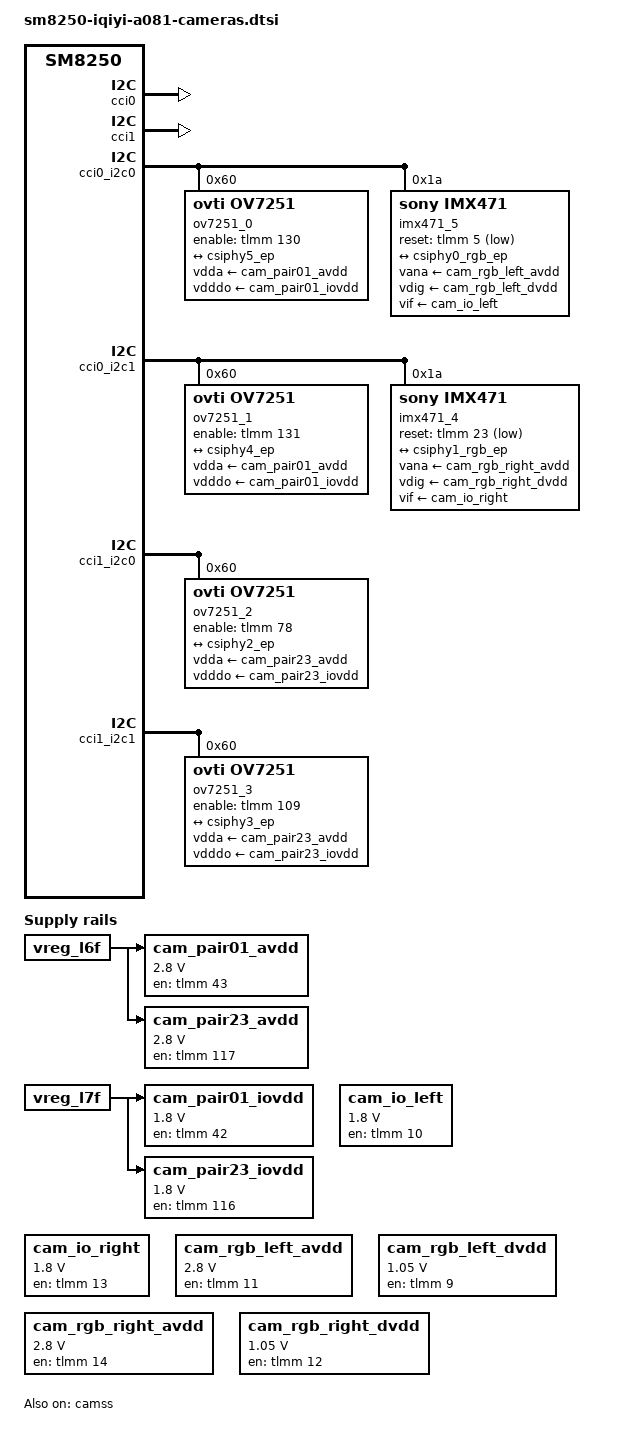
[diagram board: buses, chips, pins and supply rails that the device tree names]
// SPDX-License-Identifier: BSD-3-Clause
/* A081 stock runtime FDT + six live-verified QTI sensor configurations.
 * Slot 0/1: CCI0 bus 0/1, PHY5/4; slot 2/3: CCI1 bus 0/1, PHY2/3.
 * Sensor endpoints number the source lanes; Qualcomm PHY numbers data from
 * zero and the dedicated clock lane as seven.
 */
#include <dt-bindings/media/video-interfaces.h>

/ {
	cam_pair01_avdd: regulator-cam-pair01-avdd {
		compatible = "regulator-fixed";
		regulator-name = "cam-pair01-avdd";
		regulator-min-microvolt = <2800000>;
		regulator-max-microvolt = <2800000>;
		vin-supply = <&vreg_l6f>;
		gpio = <&tlmm 43 GPIO_ACTIVE_HIGH>;
		enable-active-high;
		startup-delay-us = <1000>;
	};

	cam_pair01_iovdd: regulator-cam-pair01-iovdd {
		compatible = "regulator-fixed";
		regulator-name = "cam-pair01-iovdd";
		regulator-min-microvolt = <1800000>;
		regulator-max-microvolt = <1800000>;
		vin-supply = <&vreg_l7f>;
		gpio = <&tlmm 42 GPIO_ACTIVE_HIGH>;
		enable-active-high;
		startup-delay-us = <1000>;
	};

	cam_pair23_avdd: regulator-cam-pair23-avdd {
		compatible = "regulator-fixed";
		regulator-name = "cam-pair23-avdd";
		regulator-min-microvolt = <2800000>;
		regulator-max-microvolt = <2800000>;
		vin-supply = <&vreg_l6f>;
		gpio = <&tlmm 117 GPIO_ACTIVE_HIGH>;
		enable-active-high;
		startup-delay-us = <1000>;
	};

	cam_pair23_iovdd: regulator-cam-pair23-iovdd {
		compatible = "regulator-fixed";
		regulator-name = "cam-pair23-iovdd";
		regulator-min-microvolt = <1800000>;
		regulator-max-microvolt = <1800000>;
		vin-supply = <&vreg_l7f>;
		gpio = <&tlmm 116 GPIO_ACTIVE_HIGH>;
		enable-active-high;
		startup-delay-us = <1000>;
	};

	cam_io_left: regulator-cam-io-left {
		compatible = "regulator-fixed";
		regulator-name = "cam-io-left";
		regulator-min-microvolt = <1800000>;
		regulator-max-microvolt = <1800000>;
		gpio = <&tlmm 10 GPIO_ACTIVE_HIGH>;
		enable-active-high;
		/* Shared module IO: stock OV power-up votes cam_vaf. */
		regulator-boot-on;
		regulator-always-on;
	};

	cam_io_right: regulator-cam-io-right {
		compatible = "regulator-fixed";
		regulator-name = "cam-io-right";
		regulator-min-microvolt = <1800000>;
		regulator-max-microvolt = <1800000>;
		gpio = <&tlmm 13 GPIO_ACTIVE_HIGH>;
		enable-active-high;
		/* Shared module IO: stock OV power-up votes cam_vaf. */
		regulator-boot-on;
		regulator-always-on;
	};

};

&apps_rsc {
	regulators-2 {
		vreg_l6f: ldo6 {
			regulator-name = "vreg_l6f";
			regulator-min-microvolt = <2800000>;
			regulator-max-microvolt = <2800000>;
			regulator-initial-mode = <RPMH_REGULATOR_MODE_HPM>;
		};

		vreg_l7f: ldo7 {
			regulator-name = "vreg_l7f";
			regulator-min-microvolt = <1800000>;
			regulator-max-microvolt = <1800000>;
			regulator-initial-mode = <RPMH_REGULATOR_MODE_HPM>;
			/* Shared camera interface rail, also voted by stock IMX471.
			 * Its CCI bus times out when OV7251 drops the last vote.
			 * Keep it on until the board's shared IO power is modeled.
			 */
			regulator-always-on;
		};
	};
};

&camss {
	vdda-phy-supply = <&vreg_l5a>;
	vdda-pll-supply = <&vreg_l9a>;
	pinctrl-names = "default";
	pinctrl-0 = <&controller_phase_default>;
	/* Stock camera2 CAM_C1/CAM_C2; sampled by Nordic at the next FSIN. */
	qcom,controller-phase-gpios = <&tlmm 92 GPIO_ACTIVE_HIGH>,
				      <&tlmm 93 GPIO_ACTIVE_HIGH>;
	qcom,controller-phase-csid = <2>;
	status = "okay";

	ports {
		port@5 {
			csiphy5_ep: endpoint {
				clock-lanes = <7>;
				data-lanes = <0>;
				bus-type = <MEDIA_BUS_TYPE_CSI2_DPHY>;
				remote-endpoint = <&ov7251_0_ep>;
			};
		};
		port@4 {
			csiphy4_ep: endpoint {
				clock-lanes = <7>;
				data-lanes = <0>;
				bus-type = <MEDIA_BUS_TYPE_CSI2_DPHY>;
				remote-endpoint = <&ov7251_1_ep>;
			};
		};
		port@2 {
			csiphy2_ep: endpoint {
				clock-lanes = <7>;
				data-lanes = <0>;
				bus-type = <MEDIA_BUS_TYPE_CSI2_DPHY>;
				remote-endpoint = <&ov7251_2_ep>;
			};
		};
		port@3 {
			csiphy3_ep: endpoint {
				clock-lanes = <7>;
				data-lanes = <0>;
				bus-type = <MEDIA_BUS_TYPE_CSI2_DPHY>;
				remote-endpoint = <&ov7251_3_ep>;
			};
		};
	};
};

&cci0 { status = "okay"; };
&cci1 { status = "okay"; };

&cci0_i2c0 {
	ov7251_0: camera@60 {
		compatible = "ovti,ov7251";
		reg = <0x60>;
		clocks = <&camcc CAM_CC_MCLK5_CLK>;
		clock-names = "xclk";
		assigned-clocks = <&camcc CAM_CC_MCLK5_CLK>;
		assigned-clock-rates = <24000000>;
		vdda-supply = <&cam_pair01_avdd>;
		vdddo-supply = <&cam_pair01_iovdd>;
		enable-gpios = <&tlmm 130 GPIO_ACTIVE_HIGH>;
		pinctrl-names = "default";
		pinctrl-0 = <&cam0_a081_default>;

		port {
			ov7251_0_ep: endpoint {
				clock-lanes = <0>;
				data-lanes = <1>;
				link-frequencies = /bits/ 64 <240000000>;
				remote-endpoint = <&csiphy5_ep>;
			};
		};
	};
};

&cci0_i2c1 {
	ov7251_1: camera@60 {
		compatible = "ovti,ov7251";
		reg = <0x60>;
		clocks = <&camcc CAM_CC_MCLK4_CLK>;
		clock-names = "xclk";
		assigned-clocks = <&camcc CAM_CC_MCLK4_CLK>;
		assigned-clock-rates = <24000000>;
		vdda-supply = <&cam_pair01_avdd>;
		vdddo-supply = <&cam_pair01_iovdd>;
		enable-gpios = <&tlmm 131 GPIO_ACTIVE_HIGH>;
		pinctrl-names = "default";
		pinctrl-0 = <&cam1_a081_default>;

		port {
			ov7251_1_ep: endpoint {
				clock-lanes = <0>;
				data-lanes = <1>;
				link-frequencies = /bits/ 64 <240000000>;
				remote-endpoint = <&csiphy4_ep>;
			};
		};
	};
};

&cci1_i2c0 {
	ov7251_2: camera@60 {
		compatible = "ovti,ov7251";
		reg = <0x60>;
		clocks = <&camcc CAM_CC_MCLK2_CLK>;
		clock-names = "xclk";
		assigned-clocks = <&camcc CAM_CC_MCLK2_CLK>;
		assigned-clock-rates = <24000000>;
		vdda-supply = <&cam_pair23_avdd>;
		vdddo-supply = <&cam_pair23_iovdd>;
		enable-gpios = <&tlmm 78 GPIO_ACTIVE_HIGH>;
		pinctrl-names = "default";
		pinctrl-0 = <&cam2_a081_default>;

		port {
			ov7251_2_ep: endpoint {
				clock-lanes = <0>;
				data-lanes = <1>;
				link-frequencies = /bits/ 64 <240000000>;
				remote-endpoint = <&csiphy2_ep>;
			};
		};
	};
};

&cci1_i2c1 {
	ov7251_3: camera@60 {
		compatible = "ovti,ov7251";
		reg = <0x60>;
		clocks = <&camcc CAM_CC_MCLK3_CLK>;
		clock-names = "xclk";
		assigned-clocks = <&camcc CAM_CC_MCLK3_CLK>;
		assigned-clock-rates = <24000000>;
		vdda-supply = <&cam_pair23_avdd>;
		vdddo-supply = <&cam_pair23_iovdd>;
		enable-gpios = <&tlmm 109 GPIO_ACTIVE_HIGH>;
		pinctrl-names = "default";
		pinctrl-0 = <&cam3_a081_default>;

		port {
			ov7251_3_ep: endpoint {
				clock-lanes = <0>;
				data-lanes = <1>;
				link-frequencies = /bits/ 64 <240000000>;
				remote-endpoint = <&csiphy3_ep>;
			};
		};
	};
};

&tlmm {
	controller_phase_default: controller-phase-default-state {
		pins = "gpio92", "gpio93";
		function = "gpio";
		drive-strength = <2>;
		bias-disable;
		output-low;
	};

	cam0_a081_default: cam0-a081-default-state {
		mclk-pins {
			pins = "gpio99";
			function = "cam_mclk";
			drive-strength = <2>;
			bias-disable;
		};
		reset-pins {
			pins = "gpio130";
			function = "gpio";
			drive-strength = <2>;
			bias-disable;
		};
	};
	cam1_a081_default: cam1-a081-default-state {
		mclk-pins {
			pins = "gpio98";
			function = "cam_mclk";
			drive-strength = <2>;
			bias-disable;
		};
		reset-pins {
			pins = "gpio131";
			function = "gpio";
			drive-strength = <2>;
			bias-disable;
		};
	};
	cam2_a081_default: cam2-a081-default-state {
		mclk-pins {
			pins = "gpio96";
			function = "cam_mclk";
			drive-strength = <2>;
			bias-disable;
		};
		reset-pins {
			pins = "gpio78";
			function = "gpio";
			drive-strength = <2>;
			bias-disable;
		};
	};
	cam3_a081_default: cam3-a081-default-state {
		mclk-pins {
			pins = "gpio97";
			function = "cam_mclk";
			drive-strength = <2>;
			bias-disable;
		};
		reset-pins {
			pins = "gpio109";
			function = "gpio";
			drive-strength = <2>;
			bias-disable;
		};
	};
};

/ {
	cam_rgb_left_avdd: regulator-cam-rgb-left-avdd {
		compatible = "regulator-fixed";
		regulator-name = "cam-rgb-left-avdd";
		regulator-min-microvolt = <2800000>;
		regulator-max-microvolt = <2800000>;
		gpio = <&tlmm 11 GPIO_ACTIVE_HIGH>;
		enable-active-high;
		startup-delay-us = <1000>;
	};
	cam_rgb_left_dvdd: regulator-cam-rgb-left-dvdd {
		compatible = "regulator-fixed";
		regulator-name = "cam-rgb-left-dvdd";
		regulator-min-microvolt = <1050000>;
		regulator-max-microvolt = <1050000>;
		gpio = <&tlmm 9 GPIO_ACTIVE_HIGH>;
		enable-active-high;
		startup-delay-us = <1000>;
	};
	cam_rgb_right_avdd: regulator-cam-rgb-right-avdd {
		compatible = "regulator-fixed";
		regulator-name = "cam-rgb-right-avdd";
		regulator-min-microvolt = <2800000>;
		regulator-max-microvolt = <2800000>;
		gpio = <&tlmm 14 GPIO_ACTIVE_HIGH>;
		enable-active-high;
		startup-delay-us = <1000>;
	};
	cam_rgb_right_dvdd: regulator-cam-rgb-right-dvdd {
		compatible = "regulator-fixed";
		regulator-name = "cam-rgb-right-dvdd";
		regulator-min-microvolt = <1050000>;
		regulator-max-microvolt = <1050000>;
		gpio = <&tlmm 12 GPIO_ACTIVE_HIGH>;
		enable-active-high;
		startup-delay-us = <1000>;
	};
};

&cci0_i2c1 {
	imx471_4: camera@1a {
		compatible = "sony,imx471";
		reg = <0x1a>;
		clocks = <&camcc CAM_CC_MCLK1_CLK>;
		assigned-clocks = <&camcc CAM_CC_MCLK1_CLK>;
		/* Use the upstream driver's 19.2 MHz PLL/mode table. */
		assigned-clock-rates = <19200000>;
		vana-supply = <&cam_rgb_right_avdd>;
		vdig-supply = <&cam_rgb_right_dvdd>;
		vif-supply = <&cam_io_right>;
		reset-gpios = <&tlmm 23 GPIO_ACTIVE_LOW>;
		pinctrl-names = "default";
		pinctrl-0 = <&imx471_4_default>;
		status = "okay";
		port {
			imx471_4_ep: endpoint {
				data-lanes = <1 2 3 4>;
				link-frequencies = /bits/ 64 <200000000>;
				remote-endpoint = <&csiphy1_rgb_ep>;
			};
		};
	};
};

&camss {
	ports {
		port@1 {
			csiphy1_rgb_ep: endpoint {
				clock-lanes = <7>;
				data-lanes = <0 1 2 3>;
				bus-type = <MEDIA_BUS_TYPE_CSI2_DPHY>;
				remote-endpoint = <&imx471_4_ep>;
			};
		};
	};
};

&tlmm {
	imx471_4_default: imx471-4-default-state {
		mclk-pins {
			pins = "gpio95";
			function = "cam_mclk";
			drive-strength = <2>;
			bias-disable;
		};
		reset-pins {
			pins = "gpio23";
			function = "gpio";
			drive-strength = <2>;
			bias-disable;
		};
	};
};

&cci0_i2c0 {
	imx471_5: camera@1a {
		compatible = "sony,imx471";
		reg = <0x1a>;
		clocks = <&camcc CAM_CC_MCLK0_CLK>;
		assigned-clocks = <&camcc CAM_CC_MCLK0_CLK>;
		/* Use the upstream driver's 19.2 MHz PLL/mode table. */
		assigned-clock-rates = <19200000>;
		vana-supply = <&cam_rgb_left_avdd>;
		vdig-supply = <&cam_rgb_left_dvdd>;
		vif-supply = <&cam_io_left>;
		reset-gpios = <&tlmm 5 GPIO_ACTIVE_LOW>;
		pinctrl-names = "default";
		pinctrl-0 = <&imx471_5_default>;
		status = "okay";
		port {
			imx471_5_ep: endpoint {
				data-lanes = <1 2 3 4>;
				link-frequencies = /bits/ 64 <200000000>;
				remote-endpoint = <&csiphy0_rgb_ep>;
			};
		};
	};
};

&camss {
	ports {
		port@0 {
			csiphy0_rgb_ep: endpoint {
				clock-lanes = <7>;
				data-lanes = <0 1 2 3>;
				bus-type = <MEDIA_BUS_TYPE_CSI2_DPHY>;
				remote-endpoint = <&imx471_5_ep>;
			};
		};
	};
};

&tlmm {
	imx471_5_default: imx471-5-default-state {
		mclk-pins {
			pins = "gpio94";
			function = "cam_mclk";
			drive-strength = <2>;
			bias-disable;
		};
		reset-pins {
			pins = "gpio5";
			function = "gpio";
			drive-strength = <2>;
			bias-disable;
		};
	};
};
